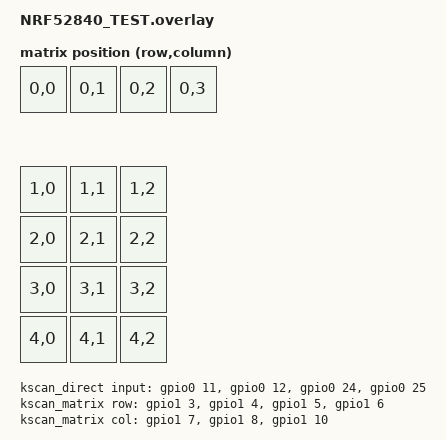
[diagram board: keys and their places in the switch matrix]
#include <dt-bindings/zmk/matrix_transform.h>
#include <physical_layouts.dtsi>
#include <zephyr/dt-bindings/led/led.h>

/ {
	chosen {
		// ZMK Studio path: physical-layout owns the kscan + transform
		// references, so we don't list them as chosen here.
		zmk,physical-layout = &physical_layout_default;
		zmk,backlight = &backlight_pwm;
		zmk,underglow = &led_strip;
	};

	// Physical layout — 16 keys in two clusters:
	//   row 0    : 4 onboard buttons (4u wide bar at the top)
	//   rows 1-4 : 4×3 matrix below the buttons
	// Units are 1/100 of a key; 100×100 = a standard 1u keycap.
	physical_layout_default: physical_layout_default {
		compatible = "zmk,physical-layout";
		display-name = "DK Test";
		kscan = <&kscan>;
		transform = <&transform>;
		keys
			//                     w   h    x    y rot rx ry
			= <&key_physical_attrs 100 100    0    0   0  0  0>
			, <&key_physical_attrs 100 100  100    0   0  0  0>
			, <&key_physical_attrs 100 100  200    0   0  0  0>
			, <&key_physical_attrs 100 100  300    0   0  0  0>
			, <&key_physical_attrs 100 100    0  200   0  0  0>
			, <&key_physical_attrs 100 100  100  200   0  0  0>
			, <&key_physical_attrs 100 100  200  200   0  0  0>
			, <&key_physical_attrs 100 100    0  300   0  0  0>
			, <&key_physical_attrs 100 100  100  300   0  0  0>
			, <&key_physical_attrs 100 100  200  300   0  0  0>
			, <&key_physical_attrs 100 100    0  400   0  0  0>
			, <&key_physical_attrs 100 100  100  400   0  0  0>
			, <&key_physical_attrs 100 100  200  400   0  0  0>
			, <&key_physical_attrs 100 100    0  500   0  0  0>
			, <&key_physical_attrs 100 100  100  500   0  0  0>
			, <&key_physical_attrs 100 100  200  500   0  0  0>
			;
	};

	// Composite kscan stitches the 4 onboard buttons (direct kscan) and
	// a 4×3 matrix on the Arduino header into a single virtual 5×4 grid:
	//   row 0           = buttons (cols 0-3)
	//   rows 1..4       = matrix (cols 0-2)
	// The matrix_transform below flattens that grid into 16 keymap
	// positions: 0-3 = buttons, 4-15 = matrix in row-major order.
	kscan: kscan_composite {
		compatible = "zmk,kscan-composite";
		rows = <5>;
		columns = <4>;

		buttons {
			kscan = <&kscan_direct>;
			row-offset = <0>;
		};

		matrix {
			kscan = <&kscan_matrix>;
			row-offset = <1>;
		};
	};

	transform: transform {
		compatible = "zmk,matrix-transform";
		rows = <5>;
		columns = <4>;
		map = <
			RC(0,0) RC(0,1) RC(0,2) RC(0,3)
			RC(1,0) RC(1,1) RC(1,2)
			RC(2,0) RC(2,1) RC(2,2)
			RC(3,0) RC(3,1) RC(3,2)
			RC(4,0) RC(4,1) RC(4,2)
		>;
	};

	// Direct kscan on the four onboard nrf52840-DK buttons.
	// Buttons are active-low (one side wired to GND, the other to the
	// SoC pin) so we use ACTIVE_LOW + an internal pull-up.
	//   BTN1 = P0.11   BTN2 = P0.12
	//   BTN3 = P0.24   BTN4 = P0.25
	kscan_direct: kscan_direct {
		compatible = "zmk,kscan-gpio-direct";
		input-gpios
			= <&gpio0 11 (GPIO_ACTIVE_LOW | GPIO_PULL_UP)>
			, <&gpio0 12 (GPIO_ACTIVE_LOW | GPIO_PULL_UP)>
			, <&gpio0 24 (GPIO_ACTIVE_LOW | GPIO_PULL_UP)>
			, <&gpio0 25 (GPIO_ACTIVE_LOW | GPIO_PULL_UP)>
			;
	};

	// 4×3 matrix on Arduino-header pins. Wire each switch row→col with
	// a 1N4148 diode; cathode (band) toward the row pin (col2row).
	//   Rows: D2=P1.03, D3=P1.04, D4=P1.05, D5=P1.06
	//   Cols: D6=P1.07, D7=P1.08, D8=P1.10
	kscan_matrix: kscan_matrix {
		compatible = "zmk,kscan-gpio-matrix";
		diode-direction = "col2row";
		row-gpios
			= <&gpio1 3 (GPIO_ACTIVE_HIGH | GPIO_PULL_DOWN)>
			, <&gpio1 4 (GPIO_ACTIVE_HIGH | GPIO_PULL_DOWN)>
			, <&gpio1 5 (GPIO_ACTIVE_HIGH | GPIO_PULL_DOWN)>
			, <&gpio1 6 (GPIO_ACTIVE_HIGH | GPIO_PULL_DOWN)>
			;
		col-gpios
			= <&gpio1 7 GPIO_ACTIVE_HIGH>
			, <&gpio1 8 GPIO_ACTIVE_HIGH>
			, <&gpio1 10 GPIO_ACTIVE_HIGH>
			;
	};

	// Backlight = onboard LED1 (P0.13) driven through PWM0 channel 0.
	// LED is active-low (anode tied to VDD), so polarity is inverted —
	// "0%" duty leaves it off, "100%" sinks current and lights it.
	backlight_pwm: backlight_pwm {
		compatible = "pwm-leds";
		bl_led_0: bl_led_0 {
			pwms = <&pwm0 0 PWM_MSEC(10) PWM_POLARITY_INVERTED>;
		};
	};
};

// PWM0 → LED1 on P0.13. Override the board's default pwm0 pinctrl so
// channel 0 lands on the LED, leaving channels 1–3 unused.
&pinctrl {
	pwm0_default: pwm0_default {
		group1 {
			psels = <NRF_PSEL(PWM_OUT0, 0, 13)>;
		};
	};
	pwm0_sleep: pwm0_sleep {
		group1 {
			psels = <NRF_PSEL(PWM_OUT0, 0, 13)>;
			low-power-enable;
		};
	};

	// SPI3 MOSI → P1.13 (Arduino D11). MISO/SCK unused — WS2812 only
	// needs the data line.
	spi3_default: spi3_default {
		group1 {
			psels = <NRF_PSEL(SPIM_MOSI, 1, 13)>;
		};
	};
	spi3_sleep: spi3_sleep {
		group1 {
			psels = <NRF_PSEL(SPIM_MOSI, 1, 13)>;
			low-power-enable;
		};
	};
};

&pwm0 {
	status = "okay";
	pinctrl-0 = <&pwm0_default>;
	pinctrl-1 = <&pwm0_sleep>;
	pinctrl-names = "default", "sleep";
};

&spi3 {
	compatible = "nordic,nrf-spim";
	status = "okay";
	pinctrl-0 = <&spi3_default>;
	pinctrl-1 = <&spi3_sleep>;
	pinctrl-names = "default", "sleep";

	led_strip: ws2812@0 {
		compatible = "worldsemi,ws2812-spi";
		reg = <0>;
		// SPI bit clock — 4 MHz keeps the 0/1 frame timings within the
		// WS2812 spec (~1.25 µs per pixel bit).
		spi-max-frequency = <4000000>;
		// Adjust to match your strip length. The driver allocates a
		// per-LED buffer at boot so over-sizing wastes RAM.
		chain-length = <10>;
		spi-one-frame = <0x70>;
		spi-zero-frame = <0x40>;
		color-mapping = <LED_COLOR_ID_GREEN LED_COLOR_ID_RED LED_COLOR_ID_BLUE>;
	};
};
